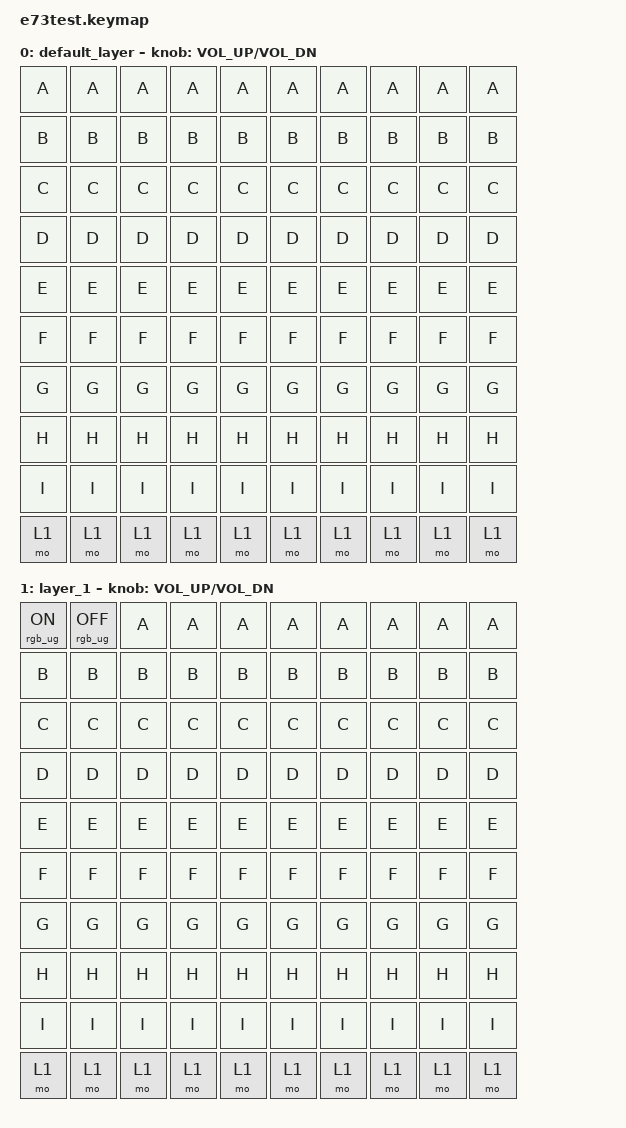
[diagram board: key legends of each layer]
#include <behaviors.dtsi>
#include <dt-bindings/zmk/keys.h>
#include <dt-bindings/zmk/rgb.h>
#include <dt-bindings/zmk/bt.h>
#include <dt-bindings/zmk/mouse.h>

/ {
    keymap {
        compatible = "zmk,keymap";

        default_layer {
            bindings = <
                &kp A &kp A &kp A &kp A &kp A &kp A &kp A &kp A &kp A &kp A 
                &kp B &kp B &kp B &kp B &kp B &kp B &kp B &kp B &kp B &kp B 
                &kp C &kp C &kp C &kp C &kp C &kp C &kp C &kp C &kp C &kp C 
                &kp D &kp D &kp D &kp D &kp D &kp D &kp D &kp D &kp D &kp D 
                &kp E &kp E &kp E &kp E &kp E &kp E &kp E &kp E &kp E &kp E 
                &kp F &kp F &kp F &kp F &kp F &kp F &kp F &kp F &kp F &kp F 
                &kp G &kp G &kp G &kp G &kp G &kp G &kp G &kp G &kp G &kp G  
                &kp H &kp H &kp H &kp H &kp H &kp H &kp H &kp H &kp H &kp H 
                &kp I &kp I &kp I &kp I &kp I &kp I &kp I &kp I &kp I &kp I 
                &mo 1 &mo 1 &mo 1 &mo 1 &mo 1 &mo 1 &mo 1 &mo 1 &mo 1 &mo 1
            >;
                sensor-bindings = <&inc_dec_kp C_VOL_UP C_VOL_DN>;
        };
        layer_1 {
            bindings = <
                &rgb_ug RGB_ON &rgb_ug RGB_OFF &kp A &kp A &kp A &kp A &kp A &kp A &kp A &kp A 
                &kp B &kp B &kp B &kp B &kp B &kp B &kp B &kp B &kp B &kp B 
                &kp C &kp C &kp C &kp C &kp C &kp C &kp C &kp C &kp C &kp C 
                &kp D &kp D &kp D &kp D &kp D &kp D &kp D &kp D &kp D &kp D 
                &kp E &kp E &kp E &kp E &kp E &kp E &kp E &kp E &kp E &kp E 
                &kp F &kp F &kp F &kp F &kp F &kp F &kp F &kp F &kp F &kp F 
                &kp G &kp G &kp G &kp G &kp G &kp G &kp G &kp G &kp G &kp G  
                &kp H &kp H &kp H &kp H &kp H &kp H &kp H &kp H &kp H &kp H 
                &kp I &kp I &kp I &kp I &kp I &kp I &kp I &kp I &kp I &kp I 
                &mo 1 &mo 1 &mo 1 &mo 1 &mo 1 &mo 1 &mo 1 &mo 1 &mo 1 &mo 1
            >;
                sensor-bindings = <&inc_dec_kp C_VOL_UP C_VOL_DN>;
        };
    };
};
